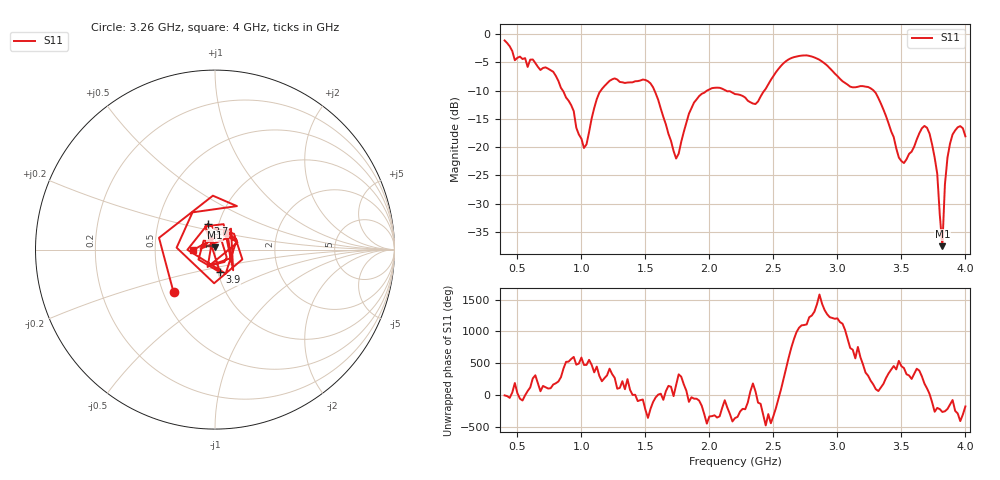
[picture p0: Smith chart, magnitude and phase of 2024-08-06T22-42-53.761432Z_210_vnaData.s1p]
!Created with skrf (http://scikit-rf.org).
# Hz S RI R 50.0
!freq ReS11 ImS11
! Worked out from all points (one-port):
!   181 points, 400 MHz to 4 GHz, reference 50 ohm
!   lowest |S11| = -37.6 dB at 3.82 GHz (marker M1), VSWR 1.03, Z = 49.9 + j1.32 ohm
!   |S11| at or under -10 dB: 854.4 MHz to 1.152 GHz (297.3 MHz wide, 29.6 % of centre); 1.571 GHz to 1.982 GHz (411.4 MHz wide, 23.2 % of centre); 3.283 GHz to end of sweep (the widest 3 of 4)
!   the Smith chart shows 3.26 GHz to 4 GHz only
!   S11 on the Smith chart (normalised r, x): 3.26 GHz: 0.57, -0.30; 3.7 GHz: 0.89, +0.26; 3.9 GHz: 1.02, -0.26; 4 GHz: 0.78, -0.01
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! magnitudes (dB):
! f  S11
! 400 MHz  -1.1
! 480 MHz  -4.6
! 780 MHz  -6.7
! 860 MHz  -10.2
! 1.02 GHz  -20.2
! 1.14 GHz  -10.4
! 1.3 GHz  -8.5
! 1.54 GHz  -8.7
! 1.74 GHz  -22.0
! 1.76 GHz  -21.2
! 1.84 GHz  -14.1
! 1.92 GHz  -11.0
! 2.2 GHz  -10.6
! 2.36 GHz  -12.4
! 2.66 GHz  -4.1
! 2.86 GHz  -4.6
! 3.1 GHz  -9.3
! 3.26 GHz  -9.6
! 3.36 GHz  -13.4
! 3.48 GHz  -21.9
! 3.56 GHz  -21.2
! 3.7 GHz  -16.6
! 3.78 GHz  -24.7
! 3.82 GHz  -37.6
! 3.84 GHz  -26.7
! 3.86 GHz  -21.9
! 3.9 GHz  -17.8
! 4 GHz  -18.1
